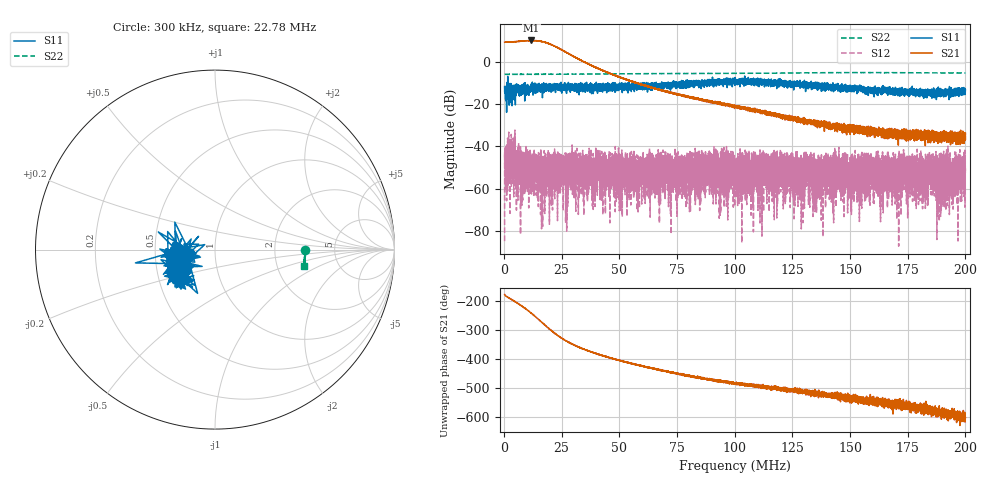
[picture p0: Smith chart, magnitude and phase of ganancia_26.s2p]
# Hz S DB R 50
! CMT, M5065, 19127446, 24.2.4/2
! Date: 11/8/2024 2:58:45 PM
! Data: Format (Calibration Info)
! Freq	S11:dB/Ang(F2)	S21:dB/Ang(F2)	S12:dB/Ang(F2)	S22:dB/Ang(F2)
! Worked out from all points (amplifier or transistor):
!   9000 points, 300 kHz to 200 MHz, reference 50 ohm
!   highest |S21| = 10.0 dB at 11.95 MHz (marker M1)
!   |S21| within 3 dB of that: start of sweep to 22.57 MHz
!   unconditionally stable (mu >= 1): start of sweep to end of sweep
!   at 33.59 MHz: K = 78.76, MAG = 2.1 dB, |S12| = -47.6 dB
!   at 100.2 MHz: K = 1545.43, MAG = -18.2 dB, |S12| = -53.9 dB
!   at 200 MHz: K = 5434.60, MAG = -32.0 dB, |S12| = -50.4 dB
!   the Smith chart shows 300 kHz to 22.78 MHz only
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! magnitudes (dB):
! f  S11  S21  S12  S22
! 300 kHz  -11.8  9.1  -84.6  -6.0
! 1.321 MHz  -13.9  9.2  -43.4  -6.0
! 11.95 MHz  -11.7  10.0  -47.7  -6.0
! 24.64 MHz  -10.9  5.8  -43.8  -5.9
! 27.13 MHz  -15.0  4.2  -45.2  -5.9
! 28.7 MHz  -11.7  3.4  -43.9  -5.9
! 33.59 MHz  -12.0  0.5  -47.6  -5.9
! 66.87 MHz  -11.4  -13.1  -41.5  -5.6
! 88.87 MHz  -9.4  -18.6  -45.5  -5.6
! 100.2 MHz  -7.5  -20.5  -53.9  -5.6
! 113.6 MHz  -9.0  -25.0  -51.5  -5.5
! 133.4 MHz  -11.2  -28.2  -54.6  -5.3
! 134.5 MHz  -10.4  -28.6  -57.5  -5.3
! 145.4 MHz  -12.9  -30.6  -46.2  -5.2
! 149.8 MHz  -11.2  -31.4  -48.0  -5.2
! 154.4 MHz  -12.2  -31.5  -54.5  -5.2
! 156.3 MHz  -12.7  -32.3  -65.7  -5.2
! 158.4 MHz  -12.3  -34.0  -46.5  -5.2
! 164 MHz  -13.2  -32.6  -68.4  -5.2
! 166.7 MHz  -14.4  -33.3  -48.2  -5.2
! 191.8 MHz  -13.5  -35.1  -55.5  -5.3
! 200 MHz  -13.3  -33.7  -50.4  -5.4
